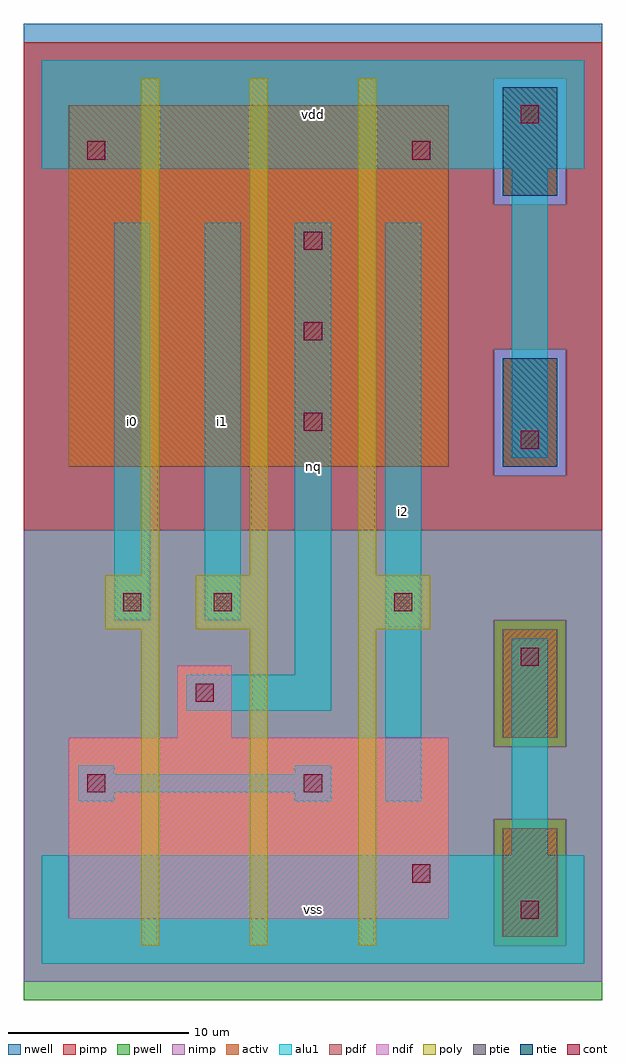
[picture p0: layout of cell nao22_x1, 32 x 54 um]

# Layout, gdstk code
import gdstk
lib = gdstk.Library(unit=1e-6, precision=1e-09)
def R(c, l, rs):  # rectangles x0, y0, x1, y1
    for r in rs: c.add(gdstk.rectangle(r[:2], r[2:], *l))
def A(c, l, x, y, w, h, nx, ny, dx, dy):  # array of equal rectangles
    R(c, l, [(x+i*dx, y+j*dy, x+i*dx+w, y+j*dy+h) for i in range(nx) for j in range(ny)])
ndif = (3, 0)
pdif = (4, 0)
ntie = (5, 0)
ptie = (6, 0)
cont = (25, 0)
pwell = (41, 0)
nwell = (42, 0)
activ = (43, 0)
pimp = (44, 0)
nimp = (45, 0)
poly = (46, 0)
alu1 = (49, 0)

nao22_x1 = lib.new_cell('nao22_x1')
R(nao22_x1, ndif, [(1.5,2.5,22.5,12.5), (7.5,12.5,10.5,16.5)])
R(nao22_x1, pdif, [(1.5,27.5,22.5,47.5)])
R(nao22_x1, ntie, [(25.5,27.5,28.5,33.5), (25.5,42.5,28.5,48.5)])
R(nao22_x1, ptie, [(25.5,1.5,28.5,7.5), (25.5,12.5,28.5,18.5)])
A(nao22_x1, cont, 14.5, 29.5, 1, 1, 1, 3, 0, 5)
R(nao22_x1, cont, [(26.5,2.5,27.5,3.5), (20.5,4.5,21.5,5.5), (2.5,9.5,3.5,10.5), (14.5,9.5,15.5,10.5), (8.5,14.5,9.5,15.5), (26.5,16.5,27.5,17.5), (4.5,19.5,5.5,20.5), (9.5,19.5,10.5,20.5), (19.5,19.5,20.5,20.5), (26.5,28.5,27.5,29.5), (2.5,44.5,3.5,45.5), (20.5,44.5,21.5,45.5), (26.5,46.5,27.5,47.5)])
R(nao22_x1, pwell, [(-1,-2,31,24)])
R(nao22_x1, nwell, [(-1,24,31,52)])
A(nao22_x1, activ, 25.5, 12.5, 3, 6, 1, 3, 0, 15)
R(nao22_x1, activ, [(25.5,1.5,28.5,7.5), (1.5,2.5,22.5,12.5), (7.5,12.5,10.5,16.5), (1.5,27.5,22.5,47.5)])
R(nao22_x1, pimp, [(25,1,29,8), (25,12,29,19), (-1,24,31,27), (-1,27,25,34), (29,27,31,34), (-1,34,31,42), (-1,42,25,49), (29,42,31,49), (-1,49,31,51)])
R(nao22_x1, nimp, [(-1,-1,31,1), (-1,1,25,8), (29,1,31,8), (-1,8,31,12), (-1,12,25,19), (29,12,31,19), (-1,19,31,24), (25,27,29,34), (25,42,29,49)])
A(nao22_x1, poly, 5.5, 1, 1, 17.5, 3, 1, 6, 0)
A(nao22_x1, poly, 5.5, 21.5, 1, 27.5, 3, 1, 6, 0)
R(nao22_x1, poly, [(3.5,18.5,6.5,21.5), (8.5,18.5,12.5,21.5), (17.5,18.5,21.5,21.5)])
R(nao22_x1, alu1, [(0,0,30,6), (26,6,28,18), (2,9,4,9.5), (14,9,16,9.5), (19,9,21,41), (2,9.5,16,10.5), (2,10.5,4,11), (14,10.5,16,11), (8,14,16,16), (14,16,16,41), (4,19,6,41), (9,19,11,41), (26,28,28,44), (0,44,30,50)])
nao22_x1.add(gdstk.Label('i0', (5,30), layer=49, texttype=0))
nao22_x1.add(gdstk.Label('i1', (10,30), layer=49, texttype=0))
nao22_x1.add(gdstk.Label('vss', (15,3), layer=49, texttype=0))
nao22_x1.add(gdstk.Label('i2', (20,25), layer=49, texttype=0))
nao22_x1.add(gdstk.Label('nq', (15,27.5), layer=49, texttype=0))
nao22_x1.add(gdstk.Label('vdd', (15,47), layer=49, texttype=0))

lib.write_gds('nao22_x1.gds')
